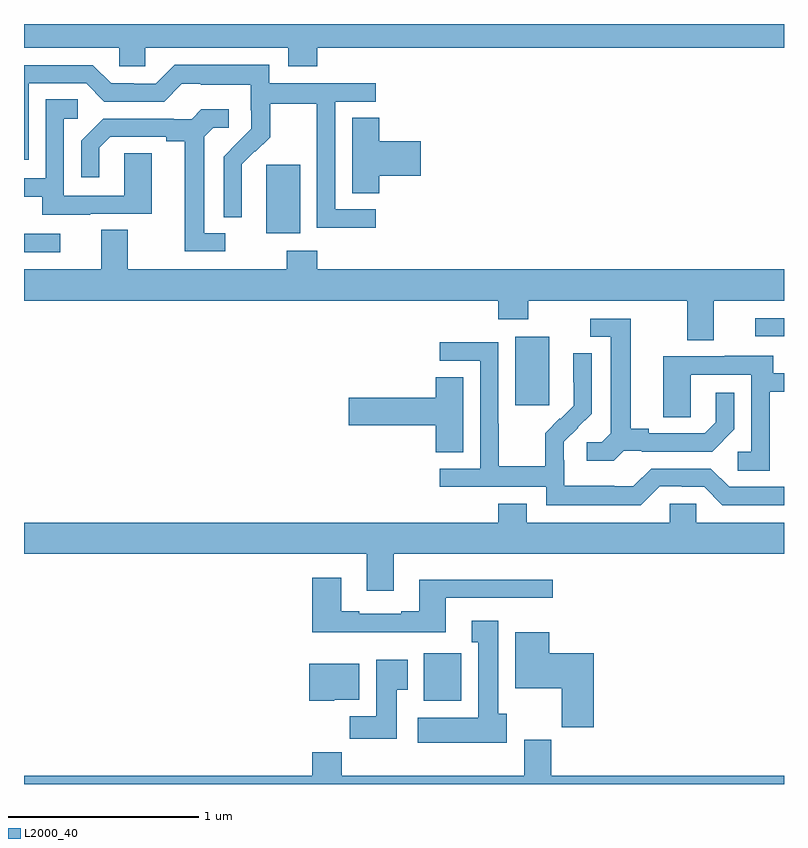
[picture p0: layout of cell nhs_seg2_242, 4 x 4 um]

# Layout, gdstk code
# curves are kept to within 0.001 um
import gdstk
lib = gdstk.Library(unit=1e-6, precision=1e-09)
def R(c, l, rs):  # rectangles x0, y0, x1, y1
    for r in rs: c.add(gdstk.rectangle(r[:2], r[2:], *l))
def P(c, l, *ps):  # polygons
    for p in ps: c.add(gdstk.Polygon(p, *l))
L2000_40 = (2000, 40)

nhs_seg2_242 = lib.new_cell('nhs_seg2_242')
R(nhs_seg2_242, L2000_40, [(125.105,604.238,125.301,604.489), (125.585,605.793,125.764,606.154), (126.849,606.156,127,606.252), (123,606.6,123.19,606.696), (124.274,606.698,124.453,607.059)])
P(nhs_seg2_242, L2000_40, [(124.544,607.676),(127,607.676),(127,607.8),(123,607.8),(123,607.676),(123.501,607.676),(123.501,607.578),(123.639,607.578),(123.639,607.676),(124.391,607.676),(124.391,607.577),(124.544,607.577)],
  [(124.852,606.825),(124.638,606.825),(124.638,607.392),(124.852,607.392),(124.852,607.488),(124.29,607.488),(124.29,607.585),(123.793,607.585),(123.693,607.485),(123.578,607.485),(123.578,607.488),(123.459,607.488),(123.363,607.584),(123,607.584),(123,607.086),(123.024,607.086),(123.024,607.488),(123.327,607.488),(123.423,607.392),(123.738,607.392),(123.831,607.485),(123.931,607.485),(123.931,607.481),(124.194,607.481),(124.194,607.347),(124.196,607.347),(124.196,607.25),(124.05,607.102),(124.05,606.784),(124.146,606.784),(124.145,607.061),(124.215,607.131),(124.218,607.128),(124.295,607.205),(124.295,607.38),(124.54,607.38),(124.54,607.156),(124.542,607.156),(124.542,606.727),(124.852,606.727)],
  [(123.349,606.801),(123.673,606.801),(123.673,607.121),(123.528,607.121),(123.528,606.897),(123.21,606.897),(123.21,607.302),(123.283,607.302),(123.283,607.403),(123.114,607.403),(123.114,606.987),(123,606.987),(123,606.891),(123.095,606.891),(123.095,606.797),(123.349,606.797)],
  [(124.06,606.699),(123.949,606.699),(123.949,607.207),(123.996,607.254),(124.078,607.254),(124.078,607.351),(123.934,607.351),(123.882,607.299),(123.788,607.299),(123.788,607.302),(123.416,607.302),(123.3,607.186),(123.3,606.993),(123.397,606.993),(123.397,607.149),(123.454,607.206),(123.749,607.206),(123.749,607.184),(123.845,607.184),(123.845,606.603),(124.06,606.603)],
  [(124.871,607.001),(125.089,607.001),(125.089,607.184),(124.871,607.184),(124.871,607.307),(124.727,607.307),(124.727,606.91),(124.871,606.91)],
  [(126.631,606.344),(127,606.344),(127,606.508),(124.544,606.508),(124.544,606.607),(124.384,606.607),(124.384,606.508),(123.547,606.508),(123.547,606.716),(123.407,606.716),(123.407,606.508),(123,606.508),(123,606.344),(125.495,606.344),(125.495,606.245),(125.655,606.245),(125.655,606.344),(126.491,606.344),(126.491,606.136),(126.631,606.136)],
  [(126.156,605.553),(126.25,605.553),(126.25,605.55),(126.622,605.55),(126.738,605.666),(126.738,605.86),(126.641,605.86),(126.641,605.703),(126.584,605.646),(126.289,605.646),(126.289,605.669),(126.193,605.669),(126.193,606.249),(125.979,606.249),(125.979,606.153),(126.089,606.153),(126.089,605.645),(126.042,605.598),(125.961,605.598),(125.961,605.501),(126.104,605.501)],
  [(126.345,605.367),(126.461,605.367),(126.461,605.364),(126.579,605.364),(126.675,605.268),(127,605.268),(127,605.364),(126.711,605.364),(126.615,605.46),(126.3,605.46),(126.207,605.367),(126.107,605.367),(126.107,605.371),(125.844,605.371),(125.844,605.505),(125.842,605.505),(125.842,605.602),(125.988,605.75),(125.988,606.068),(125.892,606.068),(125.892,605.914),(125.894,605.914),(125.894,605.792),(125.823,605.721),(125.82,605.724),(125.743,605.647),(125.743,605.473),(125.499,605.473),(125.499,605.696),(125.496,605.696),(125.496,606.126),(125.187,606.126),(125.187,606.027),(125.4,606.027),(125.4,605.46),(125.187,605.46),(125.187,605.364),(125.748,605.364),(125.748,605.267),(126.245,605.267)],
  [(126.924,605.865),(127,605.865),(127,605.961),(126.943,605.961),(126.943,606.055),(126.689,606.055),(126.689,606.051),(126.365,606.051),(126.365,605.731),(126.51,605.731),(126.51,605.955),(126.828,605.955),(126.828,605.55),(126.756,605.55),(126.756,605.449),(126.924,605.449)],
  [(125.311,605.942),(125.168,605.942),(125.168,605.834),(124.71,605.834),(124.71,605.687),(125.168,605.687),(125.168,605.545),(125.311,605.545)],
  [(124.945,605.012),(127,605.012),(127,605.176),(126.537,605.176),(126.537,605.274),(126.399,605.274),(126.399,605.176),(125.647,605.176),(125.647,605.275),(125.495,605.275),(125.495,605.176),(123,605.176),(123,605.012),(124.805,605.012),(124.805,604.818),(124.945,604.818)],
  [(125.221,604.779),(125.782,604.779),(125.782,604.876),(125.081,604.876),(125.081,604.708),(124.985,604.708),(124.985,604.695),(124.765,604.695),(124.765,604.708),(124.669,604.708),(124.669,604.885),(124.517,604.885),(124.517,604.598),(125.221,604.598)],
  [(125.542,604.17),(125.497,604.17),(125.497,604.66),(125.357,604.66),(125.357,604.547),(125.39,604.547),(125.39,604.15),(125.073,604.15),(125.073,604.016),(125.542,604.016)],
  [(125.999,604.489),(125.764,604.489),(125.764,604.6),(125.585,604.6),(125.585,604.304),(125.83,604.304),(125.83,604.099),(125.999,604.099)],
  [(124.963,604.297),(125.02,604.297),(125.02,604.453),(124.853,604.453),(124.853,604.156),(124.714,604.156),(124.714,604.038),(124.963,604.038)],
  [(124.632,604.244),(124.765,604.244),(124.765,604.432),(124.502,604.432),(124.502,604.238),(124.632,604.238)],
  [(127,603.844),(125.776,603.844),(125.776,604.034),(125.633,604.034),(125.633,603.844),(124.673,603.844),(124.673,603.968),(124.517,603.968),(124.517,603.844),(123,603.844),(123,603.8),(127,603.8)])

lib.write_gds('nhs_seg2_242.gds')
